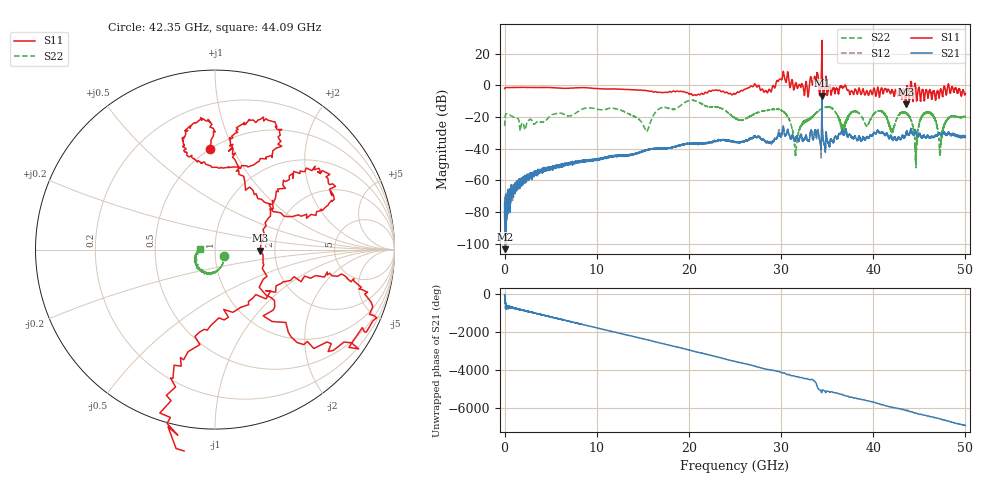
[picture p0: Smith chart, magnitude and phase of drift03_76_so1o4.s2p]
!Created with skrf (http://scikit-rf.org).
# Hz S RI R 50.0
!freq ReS11 ImS11 ReS21 ImS21 ReS12 ImS12 ReS22 ImS22
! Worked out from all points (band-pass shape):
!   10000 points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, 5.3 MHz to 50 GHz, reference 50 ohm
!   highest |S21| = -6.64 dB at 34.43 GHz (marker M1); lowest = -103.7 dB at 95.3 MHz (marker M2)
!   |S21| within 3 dB of the highest: 34.42738 GHz to 34.43478 GHz (7.397 MHz wide, 0.0215 % of centre)
!   lowest |S11| = -12.0 dB at 43.52 GHz (marker M3), VSWR 1.67, Z = 83.5 - j0.895 ohm
!   |S11| at or under -10 dB: 43.48534 GHz to 43.54397 GHz (58.63 MHz wide, 0.135 % of centre); 43.5496 GHz to 43.55059 GHz (987.4 kHz wide, 0.00227 % of centre); 44.32365 GHz to 44.33076 GHz (7.115 MHz wide, 0.0161 % of centre) (the widest 3 of 5)
!   |S22| runs from -52.1 to -9.5 dB; largest |S21 - S12| = 0.13
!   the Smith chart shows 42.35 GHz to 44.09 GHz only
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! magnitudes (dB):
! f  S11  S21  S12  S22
! 5.3 MHz  -2.1  -84.4  -79.3  -25.9
! 95.3 MHz  -1.5  -103.7  -78.8  -18.8
! 2.295 GHz  -1.3  -58.8  -59.3  -26.4
! 8.34 GHz  -1.5  -48.2  -48.1  -15.3
! 15.4 GHz  -3.4  -41.0  -40.7  -29.0
! 16.67 GHz  -4.4  -40.0  -40.0  -15.3
! 20.46 GHz  -6.5  -36.8  -36.5  -9.5
! 25.01 GHz  -5.5  -36.1  -35.8  -20.8
! 29.95 GHz  3.9  -32.6  -32.1  -15.6
! 31.59 GHz  1.3  -33.9  -34.2  -44.0
! 33.34 GHz  2.6  -30.2  -30.5  -20.1
! 34.43 GHz  28.3  -6.6  -8.5  -14.5
! 36.69 GHz  -1.4  -29.7  -29.8  -27.1
! 37.93 GHz  -4.6  -33.1  -33.0  -16.8
! 41.67 GHz  -2.8  -33.4  -33.5  -23.6
! 43.52 GHz  -12.0  -31.1  -31.4  -17.6
! 44.62 GHz  -2.5  -29.3  -29.7  -45.7
! 45.66 GHz  -4.4  -32.7  -33.0  -17.4
! 46.61 GHz  -3.8  -32.3  -32.7  -20.5
! 47.28 GHz  -3.0  -30.8  -30.7  -41.6
! 48.18 GHz  0.6  -29.6  -29.9  -20.7
! 50 GHz  -5.2  -32.7  -32.5  -19.6
